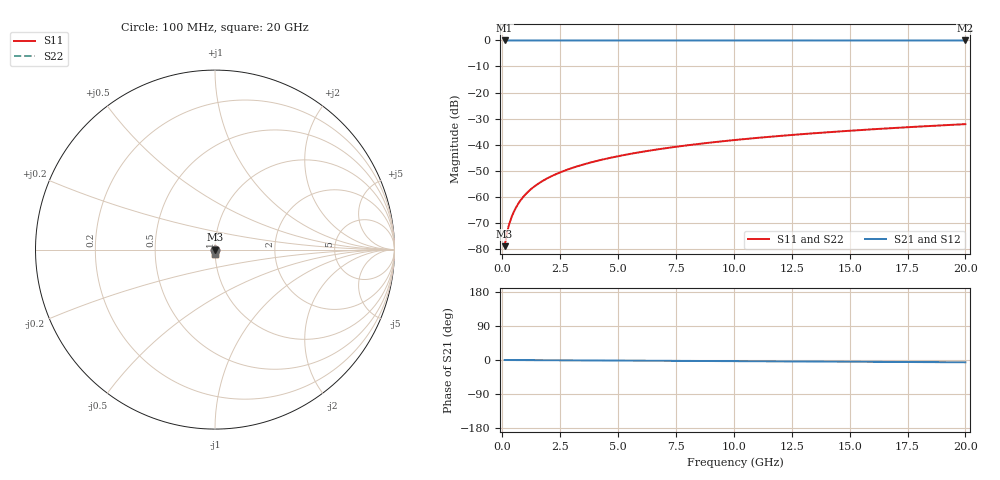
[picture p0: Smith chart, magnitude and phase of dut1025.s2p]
! Touchstone file exported from HFSS 2026.1.0
!  File:  C:/ffzhzh/LocalFiles/Ansys_Project_Files/temp_train_TSV_1025_1783188933_18472.aedt
!  Generated:  02:16:47 AM Jul  5, 2026
!  Design:  TSV
!  Project:  temp_train_TSV_1025_1783188933_18472
! Variables:
!  h_bsmrdl = 2um
!  h_ox = 20um
!  h_rdl = 5um
!  h_sub = 57.2um
!  h_tmrdl = 5um
!  h_tsv = 57.2um
!  h_via = 3um
!  l_bsmrdl = 300um
!  l_sub = 428.08um
!  l_tmrdl = 200um
!  m_sub = 200um
!  pitch = 45um
!  r_tsv = 14.04um
!  s_tmrdl = 10um
!  w_bsmrdl = 18um
!  w_sub = 500um
!  w_tmrdl = 12um
!  x_tsv_center1 = 206um
!  x_tsv_center2 = 524um
!  x_tsv_center3 = 736um
!  x_tsv_center4 = 1054um
!  x_tsv_center5 = 1266um
!  x_tsv_center6 = 1584um
# GHz S MA R 50.000000
! Terminal data exported
! Port[1] = TSV1_1_T1
! Port[2] = TSV1_1_T2
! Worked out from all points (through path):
!   200 points, 100 MHz to 20 GHz, reference 50 ohm
!   highest |S21| = 0.00 dB at 100 MHz (marker M1); lowest = 0.0 dB at 20 GHz (marker M2)
!   lowest |S11| = -79.0 dB at 100 MHz (marker M3), VSWR 1.00, Z = 50 - j0.00911 ohm
!   |S11| at or under -10 dB: start of sweep to end of sweep
!   |S22| runs from -79.0 to -32.2 dB; largest |S21 - S12| = 2e-15
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0.1  0.0001116 -54.7  0.9999 -0.0  0.9999 -0.0  0.0001116 -54.7
! Gamma 0 0 0 0
! Port Impedance 50 0 50 0
0.2  0.0001996 -68.0  0.9999 -0.1  0.9999 -0.1  0.0001996 -68.0
0.3  0.0002976 -72.4  0.9999 -0.1  0.9999 -0.1  0.0002976 -72.4
0.4  0.0004023 -74.6  0.9999 -0.1  0.9999 -0.1  0.0004023 -74.6
0.5  0.0005123 -75.9  0.9999 -0.2  0.9999 -0.2  0.0005123 -75.9
0.7  0.000743 -77.8  0.9998 -0.2  0.9998 -0.2  0.000743 -77.8
0.8  0.0008616 -78.6  0.9998 -0.3  0.9998 -0.3  0.0008616 -78.6
1  0.001102 -79.9  0.9998 -0.3  0.9998 -0.3  0.001102 -79.9
1.2  0.001344 -81.1  0.9998 -0.4  0.9998 -0.4  0.001344 -81.1
1.4  0.001587 -82.0  0.9998 -0.4  0.9998 -0.4  0.001587 -82.0
1.7  0.001951 -83.1  0.9997 -0.5  0.9997 -0.5  0.001951 -83.1
2  0.002314 -83.9  0.9997 -0.6  0.9997 -0.6  0.002314 -83.9
2.7  0.003163 -85.3  0.9997 -0.8  0.9997 -0.8  0.003163 -85.3
3.5  0.004136 -86.4  0.9997 -1.1  0.9997 -1.1  0.004135 -86.4
4.2  0.00499 -87.0  0.9996 -1.3  0.9996 -1.3  0.00499 -87.0
5  0.005972 -87.6  0.9996 -1.5  0.9996 -1.5  0.005972 -87.6
6.8  0.008195 -88.7  0.9995 -2.1  0.9995 -2.1  0.008195 -88.7
8.3  0.01006 -89.5  0.9994 -2.5  0.9994 -2.5  0.01006 -89.5
10.1  0.0123 -90.3  0.9993 -3.1  0.9993 -3.1  0.0123 -90.3
13.4  0.01641 -91.7  0.9992 -4.1  0.9992 -4.1  0.01641 -91.7
16.7  0.02054 -93.0  0.999 -5.1  0.999 -5.1  0.02054 -93.0
20  0.02467 -94.1  0.9989 -6.1  0.9989 -6.1  0.02467 -94.1
